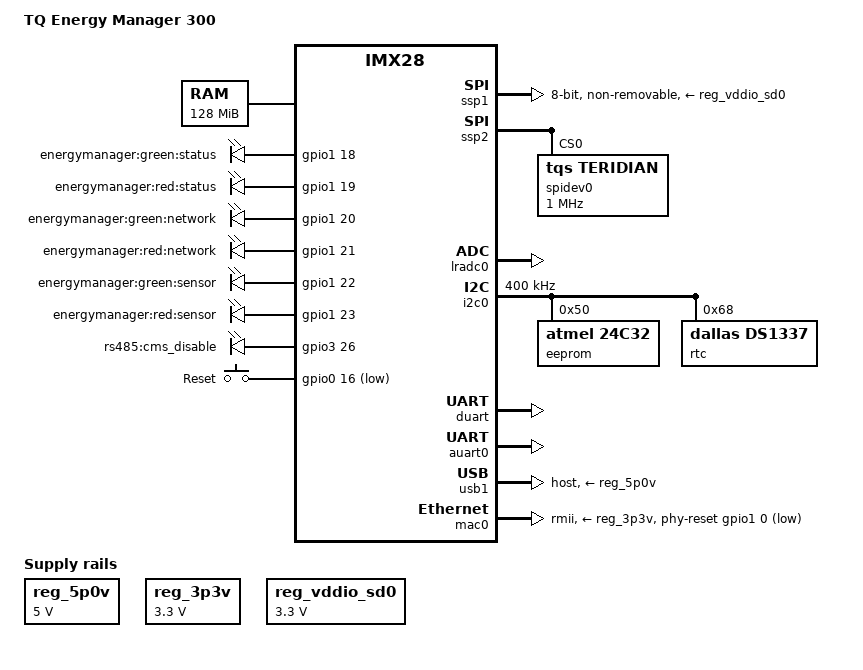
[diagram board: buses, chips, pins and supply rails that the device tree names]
/*
 * Copyright (C) 2014 Michael Heimpold <michael.heimpold@tq-group.com>
 * Copyright (C) 2017 Christoph Krutz <christoph.krutz@tq-group.com>
 *
 * The code contained herein is licensed under the GNU General Public
 * License. You may obtain a copy of the GNU General Public License
 * Version 2 or later at the following locations:
 *
 * http://www.opensource.org/licenses/gpl-license.html
 * http://www.gnu.org/copyleft/gpl.html
 */

/dts-v1/;

#include <dt-bindings/gpio/gpio.h>
#include <dt-bindings/input/input.h>
#include "imx28.dtsi"

/ {
	model = "TQ Energy Manager 300";
	compatible = "tqs,energymanager300", "fsl,imx28";

	memory {
		reg = <0x40000000 0x08000000>;
	};

	apb@80000000 {
		apbh@80000000 {
			ssp1: ssp@80012000 {
				compatible = "fsl,imx28-mmc";
				pinctrl-names = "default";
				pinctrl-0 = <&mmc1_8bit_pins_a
						&mmc1_cmd_cfg
						&mmc1_sck_cfg>;
				bus-width = <8>;
				non-removable;
				tqs,dsr = <0x0100>;
				vmmc-supply = <&reg_vddio_sd0>;
				status = "okay";
			};

			ssp2: ssp@80014000 {
				compatible = "fsl,imx28-spi";
				pinctrl-names = "default";
				pinctrl-0 = <&spi2_pins_c>;
				status = "okay";

				spidev0: spi@0 {
					compatible = "tqs,teridian";
					reg = <0>;
					spi-max-frequency = <1000000>;
				};
			};

			pinctrl@80018000 {
				pinctrl-names = "default";
				pinctrl-0 = <&hog_pins_a>;

				hog_pins_a: hog@0 {
					reg = <0>;
					fsl,pinmux-ids = <
						MX28_PAD_LCD_D00__GPIO_1_0

						MX28_PAD_SAIF1_SDATA0__GPIO_3_26
					>;
					fsl,drive-strength = <MXS_DRIVE_4mA>;
					fsl,voltage = <MXS_VOLTAGE_HIGH>;
					fsl,pull-up = <MXS_PULL_DISABLE>;
				};

				mmc1_8bit_pins_a: mmc1-8bit@0 {
					reg = <0>;
					fsl,pinmux-ids = <
						MX28_PAD_GPMI_D00__SSP1_D0
						MX28_PAD_GPMI_D01__SSP1_D1
						MX28_PAD_GPMI_D02__SSP1_D2
						MX28_PAD_GPMI_D03__SSP1_D3
						MX28_PAD_GPMI_D04__SSP1_D4
						MX28_PAD_GPMI_D05__SSP1_D5
						MX28_PAD_GPMI_D06__SSP1_D6
						MX28_PAD_GPMI_D07__SSP1_D7
					>;
				fsl,drive-strength = <MXS_DRIVE_4mA>;
				fsl,voltage = <MXS_VOLTAGE_HIGH>;
				fsl,pull-up = <MXS_PULL_ENABLE>;
				};

				mmc1_cmd_cfg: mmc1-cmd-cfg {
					fsl,pinmux-ids = <MX28_PAD_GPMI_RDY1__SSP1_CMD>;
					fsl,drive-strength = <MXS_DRIVE_8mA>;
					fsl,voltage = <MXS_VOLTAGE_HIGH>;
					fsl,pull-up = <MXS_PULL_ENABLE>;
				};

				mmc1_sck_cfg: mmc1-sck-cfg {
					fsl,pinmux-ids = <MX28_PAD_GPMI_WRN__SSP1_SCK>;
					fsl,voltage = <MXS_VOLTAGE_HIGH>;
				};

				led_pins_a: led_gpio@0 {
					reg = <0>;
					fsl,pinmux-ids = <
						MX28_PAD_LCD_D18__GPIO_1_18
						MX28_PAD_LCD_D19__GPIO_1_19
						MX28_PAD_LCD_D20__GPIO_1_20
						MX28_PAD_LCD_D21__GPIO_1_21
						MX28_PAD_LCD_D22__GPIO_1_22
						MX28_PAD_LCD_D23__GPIO_1_23
					>;
					fsl,drive-strength = <MXS_DRIVE_4mA>;
					fsl,voltage = <MXS_VOLTAGE_HIGH>;
					fsl,pull-up = <MXS_PULL_DISABLE>;
				};

				spi2_pins_c: teridian@0 {
					reg = <0>;
					fsl,pinmux-ids = <
						MX28_PAD_SSP0_DATA4__SSP2_D0
						MX28_PAD_SSP0_DATA5__SSP2_D3
						MX28_PAD_SSP0_DATA6__SSP2_CMD
						MX28_PAD_SSP0_DATA7__SSP2_SCK
						MX28_PAD_SSP2_SS2__GPIO_2_21
					>;
					fsl,drive-strength = <MXS_DRIVE_8mA>;
					fsl,voltage = <MXS_VOLTAGE_HIGH>;
					fsl,pull-up = <MXS_PULL_ENABLE>;
				};
			};
		};

		apbx@80040000 {
			lradc0: lradc@80050000 {
				status = "okay";
			};

			i2c0: i2c@80058000 {
				pinctrl-names = "default";
				pinctrl-0 = <&i2c0_pins_a>;
				clock-frequency = <400000>;
				status = "okay";

				eeprom@50 {
					compatible = "atmel,24c32";
					reg = <0x50>;
					read-only;
				};

				rtc@68 {
					compatible = "dallas,ds1337";
					reg = <0x68>;
				};
			};

			duart: serial@80074000 {
				pinctrl-names = "default";
				pinctrl-0 = <&duart_pins_a>;
				status = "okay";
			};

			auart0: serial@8006a000 {
				pinctrl-names = "default";
				pinctrl-0 = <&auart0_2pins_a>;
				status = "okay";
			};

			usbphy1: usbphy@8007e000 {
				status = "okay";
			};
		};
	};

	ahb@80080000 {
		usb1: usb@80090000 {
			vbus-supply = <&reg_5p0v>;
			disable-over-current;
			dr_mode = "host";
			status = "okay";
		};

		mac0: ethernet@800f0000 {
			phy-mode = "rmii";
			pinctrl-names = "default";
			pinctrl-0 = <&mac0_pins_a>;
			phy-supply = <&reg_3p3v>;
			phy-reset-gpios = <&gpio1 0 0>;
			phy-reset-duration = <100>;
			clocks = <&clks 57>, <&clks 57>;
			clock-names = "ipg", "ahb";
			status = "okay";
		};
	};

	regulators {
		compatible = "simple-bus";

		reg_5p0v: 5p0v {
			compatible = "regulator-fixed";
			regulator-name = "5P0V";
			regulator-min-microvolt = <5000000>;
			regulator-max-microvolt = <5000000>;
			regulator-always-on;
		};

		reg_3p3v: 3p3v {
			compatible = "regulator-fixed";
			regulator-name = "3P3V";
			regulator-min-microvolt = <3300000>;
			regulator-max-microvolt = <3300000>;
			regulator-always-on;
		};

		reg_vddio_sd0: vddio-sd0 {
			compatible = "regulator-fixed";
			regulator-name = "vddio-sd0";
			regulator-min-microvolt = <3300000>;
			regulator-max-microvolt = <3300000>;
			regulator-always-on;
		};
	};

	leds {
		compatible = "gpio-leds";
		pinctrl-names = "default";
		pinctrl-0 = <&led_pins_a>;

		status_green {
			label = "energymanager:green:status";
			gpios = <&gpio1 18 GPIO_ACTIVE_HIGH>;
			linux,default-trigger = "timer";
		};

		status_red {
			label = "energymanager:red:status";
			gpios = <&gpio1 19 GPIO_ACTIVE_HIGH>;
		};

		network_green {
			label = "energymanager:green:network";
			gpios = <&gpio1 20 GPIO_ACTIVE_HIGH>;
		};

		network_red {
			label = "energymanager:red:network";
			gpios = <&gpio1 21 GPIO_ACTIVE_HIGH>;
		};

		sensor_green {
			label = "energymanager:green:sensor";
			gpios = <&gpio1 22 GPIO_ACTIVE_HIGH>;
		};

		sensor_red {
			label = "energymanager:red:sensor";
			gpios = <&gpio1 23 GPIO_ACTIVE_HIGH>;
		};

		cms_disable {
			label = "rs485:cms_disable";
			gpios = <&gpio3 26 GPIO_ACTIVE_HIGH>;
			default-state = "off";
		};
	};

	buttons {
		compatible = "gpio-keys";
		#address-cells = <1>;
		#size-cells = <0>;

		reset {
			label = "Reset";
			gpios = <&gpio0 16 GPIO_ACTIVE_LOW>;
			linux,code = <KEY_RESTART>;
		};
	};
};
